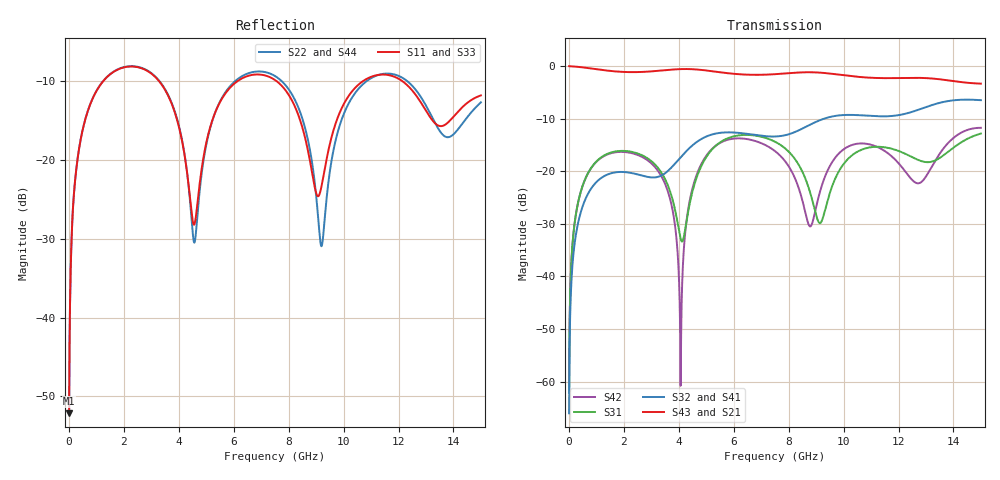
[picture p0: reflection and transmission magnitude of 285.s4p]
! Created with skrf 1.8.0 (http://scikit-rf.org).
# GHz S RI R 50.0
!freq ReS11 ImS11 ReS12 ImS12 ReS13 ImS13
! ReS14 ImS14
! ReS21 ImS21 ReS22 ImS22 ReS23 ImS23
! ReS24 ImS24
! ReS31 ImS31 ReS32 ImS32 ReS33 ImS33
! ReS34 ImS34
! ReS41 ImS41 ReS42 ImS42 ReS43 ImS43
! ReS44 ImS44
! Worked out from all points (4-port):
!   2499 points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, 5 MHz to 15 GHz, reference 50 ohm
!   strongest paths, dB at 5 MHz, 3.476 GHz, 7.19 GHz, 11.1 GHz, 15 GHz:
!     S43: 0.0, -0.8, -1.6, -2.2, -3.3
!     S21: 0.0, -0.8, -1.6, -2.2, -3.3
!     S32: -66.0, -20.5, -13.3, -9.5, -6.5
!     S41: -66.0, -20.5, -13.4, -9.5, -6.5
!     S31: -62.1, -21.3, -13.7, -15.4, -12.8
!     S42: -62.1, -22.1, -15.1, -15.1, -11.7
!   lowest |S11| = -52.2 dB at 5 MHz (marker M1), VSWR 1.00, Z = 50.2 + j0.15 ohm
!   |S11| at or under -10 dB: 3.284 GHz to 6.131 GHz (2.847 GHz wide, 60.5 % of centre); 7.565 GHz to 10.7 GHz (3.135 GHz wide, 34.3 % of centre); 12.15 GHz to end of sweep (the widest 3 of 4)
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0.005  0.00196 0.00149  0.998 -0.00382  9.99e-05 0.000781  -9.69e-05 -0.00049
       0.998 -0.00382  0.00196 0.00149  -9.69e-05 -0.00049  9.97e-05 0.000781
       9.99e-05 0.000781  -9.69e-05 -0.00049  0.00196 0.00149  0.998 -0.00382
       -9.69e-05 -0.00049  9.97e-05 0.000781  0.998 -0.00382  0.00196 0.00149
1.3193  0.2759 0.1762  0.5357 -0.7364  0.132 0.0554  -0.0909 -0.00416
        0.5357 -0.7364  0.2778 0.1749  -0.0909 -0.00414  0.1266 0.063
        0.132 0.0554  -0.0909 -0.00414  0.276 0.1763  0.5356 -0.7365
        -0.0909 -0.00416  0.1266 0.063  0.5356 -0.7365  0.2778 0.175
4.064193  0.0799 -0.1227  -0.8507 -0.3908  -0.0195 -0.012  -0.0525 0.125
          -0.8507 -0.3908  0.0726 -0.1296  -0.0523 0.1251  -0.000608 -0.00068
          -0.0195 -0.012  -0.0523 0.1251  0.0802 -0.1241  -0.8504 -0.3909
          -0.0525 0.125  -0.000608 -0.00068  -0.8504 -0.3909  0.0736 -0.1307
5.252188  0.1288 0.1334  -0.8109 0.3677  0.1155 0.1188  0.1248 0.1874
          -0.8109 0.3677  0.1234 0.1375  0.1251 0.1874  0.1098 0.1258
          0.1155 0.1188  0.1251 0.1874  0.1274 0.1322  -0.8112 0.3678
          0.1248 0.1874  0.1098 0.1258  -0.8112 0.3678  0.1235 0.1357
9.222593  0.0623 0.0357  0.8581 0.0932  -0.0189 0.029  0.0239 -0.3107
          0.8581 0.0932  0.0288 0.00578  0.0228 -0.3109  0.0529 0.0534
          -0.0189 0.029  0.0228 -0.3109  0.0616 0.035  0.8583 0.0908
          0.0239 -0.3107  0.0529 0.0534  0.8583 0.0908  0.0296 0.00526
11.95498  0.3278 -0.0494  -0.0765 -0.7646  0.0324 -0.1543  -0.3339 0.0637
          -0.0765 -0.7646  0.3418 -0.0447  -0.3337 0.0656  0.044 -0.1149
          0.0324 -0.1543  -0.3337 0.0656  0.3246 -0.0494  -0.0821 -0.7648
          -0.3339 0.0637  0.044 -0.1149  -0.0821 -0.7648  0.3388 -0.0481
15  0.2563 0.0205  -0.5845 0.3537  0.211 0.0872  0.3116 0.3557
    -0.5845 0.3537  0.2254 0.0566  0.3137 0.3554  0.22 0.1363
    0.211 0.0872  0.3137 0.3554  0.259 0.0251  -0.5767 0.362
    0.3116 0.3557  0.22 0.1363  -0.5767 0.362  0.2343 0.0592
